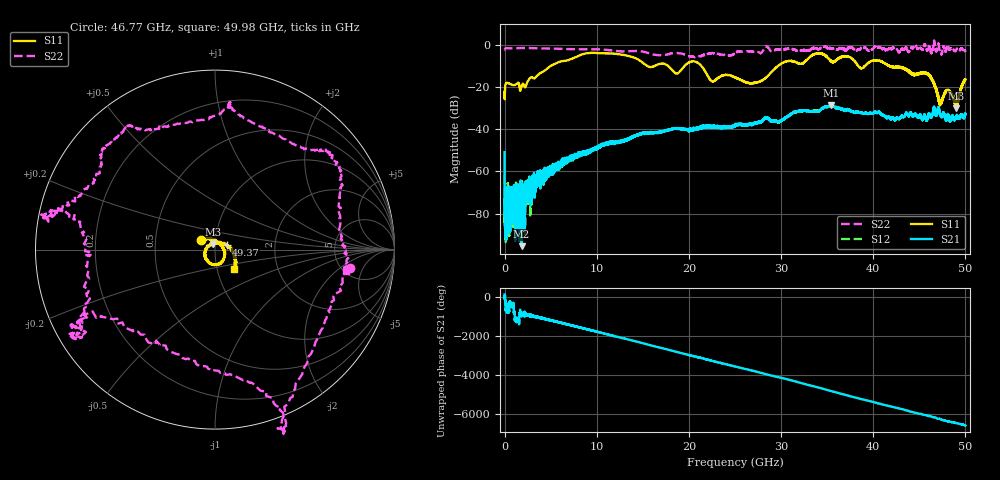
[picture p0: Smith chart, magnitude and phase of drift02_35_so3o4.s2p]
!Created with skrf (http://scikit-rf.org).
# Hz S RI R 50.0
!freq ReS11 ImS11 ReS21 ImS21 ReS12 ImS12 ReS22 ImS22
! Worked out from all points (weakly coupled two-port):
!   10001 points, 300 kHz to 50 GHz, reference 50 ohm
!   highest |S21| = -28.52 dB at 35.38 GHz (marker M1); lowest = -95.5 dB at 1.835 GHz (marker M2)
!   lowest |S11| = -30.0 dB at 49.02 GHz (marker M3), VSWR 1.07, Z = 48.8 + j2.88 ohm
!   |S11| at or under -10 dB: start of sweep to 4.956 GHz; 21.38 GHz to 29.63 GHz (8.251 GHz wide, 32.4 % of centre); 41.81 GHz to end of sweep (the widest 3 of 6)
!   |S22| runs from -5.7 to 2.2 dB; largest |S21 - S12| = 0.0035
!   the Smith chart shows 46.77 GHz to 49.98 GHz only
!   S11 on the Smith chart (normalised r, x): 46.77 GHz: 0.85, +0.09; 49.37 GHz: 1.14, +0.06; 49.98 GHz: 1.20, -0.27
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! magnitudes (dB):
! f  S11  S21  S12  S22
! 300 kHz  -22.1  -50.8  -61.7  -2.1
! 255.3 MHz  -17.9  -78.6  -85.6  -1.4
! 1.835 GHz  -19.5  -95.5  -74.1  -1.3
! 3.67 GHz  -13.9  -63.4  -64.1  -1.5
! 8.335 GHz  -4.5  -51.4  -51.3  -1.9
! 16.67 GHz  -9.1  -41.2  -41.5  -4.7
! 18.7 GHz  -13.5  -39.5  -39.5  -3.7
! 20.6 GHz  -7.7  -40.0  -40.0  -5.7
! 22.51 GHz  -17.1  -38.9  -38.8  -3.7
! 25 GHz  -15.3  -38.1  -38.2  -3.9
! 27.45 GHz  -17.6  -36.5  -36.5  -3.1
! 33.34 GHz  -4.9  -31.4  -31.3  -1.6
! 35.38 GHz  -7.5  -28.5  -28.7  -1.4
! 41.67 GHz  -9.7  -33.9  -34.3  -1.9
! 45.8 GHz  -13.5  -35.5  -35.4  -2.4
! 46.77 GHz  -20.5  -32.9  -32.8  -2.4
! 47.27 GHz  -27.8  -33.3  -32.7  -3.3
! 48.1 GHz  -21.3  -33.4  -33.0  -0.5
! 49.02 GHz  -30.0  -33.5  -34.0  -2.0
! 49.37 GHz  -23.2  -34.1  -34.4  -2.7
! 49.98 GHz  -16.5  -32.3  -32.7  -2.6
! 50 GHz  -16.3  -32.7  -32.6  -2.6
